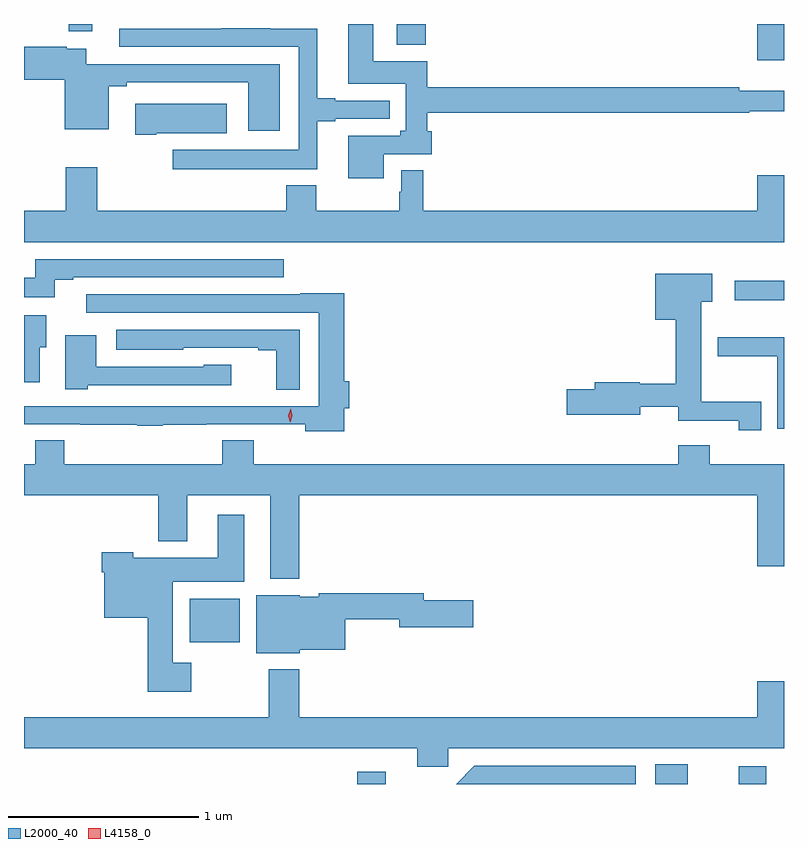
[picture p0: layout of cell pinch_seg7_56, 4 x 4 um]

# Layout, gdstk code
import gdstk
lib = gdstk.Library(unit=1e-6, precision=1e-09)
def R(c, l, rs):  # rectangles x0, y0, x1, y1
    for r in rs: c.add(gdstk.rectangle(r[:2], r[2:], *l))
def P(c, l, *ps):  # polygons
    for p in ps: c.add(gdstk.Polygon(p, *l))
L2000_40 = (2000, 40)
L4158_0 = (4158, 0)

pinch_seg7_56 = lib.new_cell('pinch_seg7_56')
R(pinch_seg7_56, L2000_40, [(894.171,1056.372,894.319,1056.436), (895.739,1056.372,895.909,1056.475), (896.177,1056.372,896.322,1056.466), (893.288,1057.118,893.551,1057.348), (896.157,1058.918,896.416,1059.022), (896.276,1060.182,896.416,1060.372), (894.377,1060.263,894.53,1060.372), (892.652,1060.335,892.774,1060.372)])
P(pinch_seg7_56, L2000_40, [(894.31,1059.687),(894.563,1059.687),(894.563,1059.807),(894.538,1059.807),(894.538,1059.904),(896.234,1059.904),(896.234,1059.912),(896.416,1059.912),(896.416,1060.021),(896.18,1060.021),(896.18,1060.04),(894.538,1060.04),(894.538,1060.177),(894.253,1060.177),(894.253,1060.372),(894.122,1060.372),(894.122,1060.058),(894.426,1060.058),(894.426,1059.811),(894.396,1059.811),(894.396,1059.783),(894.122,1059.783),(894.122,1059.56),(894.31,1059.56)],
  [(893.959,1059.861),(894.055,1059.861),(894.055,1059.873),(894.34,1059.873),(894.34,1059.969),(894.055,1059.969),(894.055,1059.982),(893.959,1059.982),(893.959,1060.347),(893.711,1060.347),(893.711,1060.349),(893.455,1060.349),(893.455,1060.347),(892.917,1060.347),(892.917,1060.251),(893.862,1060.251),(893.862,1059.709),(893.199,1059.709),(893.199,1059.608),(893.959,1059.608)],
  [(893.761,1060.161),(892.744,1060.161),(892.744,1060.243),(892.64,1060.243),(892.64,1060.251),(892.416,1060.251),(892.416,1060.079),(892.631,1060.079),(892.631,1059.818),(892.861,1059.818),(892.861,1060.045),(892.957,1060.045),(892.957,1060.065),(893.597,1060.065),(893.597,1059.81),(893.761,1059.81)],
  [(893.113,1059.797),(893.482,1059.797),(893.482,1059.952),(893.001,1059.952),(893.001,1059.79),(893.113,1059.79)],
  [(896.416,1059.577),(896.276,1059.577),(896.276,1059.388),(894.518,1059.388),(894.518,1059.602),(894.402,1059.602),(894.402,1059.489),(894.39,1059.489),(894.39,1059.388),(893.955,1059.388),(893.955,1059.523),(893.795,1059.523),(893.795,1059.388),(892.802,1059.388),(892.802,1059.619),(892.637,1059.619),(892.637,1059.388),(892.416,1059.388),(892.416,1059.224),(896.416,1059.224)],
  [(892.579,1059.027),(892.675,1059.027),(892.675,1059.039),(893.782,1059.039),(893.782,1059.135),(892.475,1059.135),(892.475,1059.037),(892.416,1059.037),(892.416,1058.933),(892.579,1058.933)],
  [(896.296,1058.385),(895.981,1058.385),(895.981,1058.909),(896.038,1058.909),(896.038,1059.058),(895.739,1059.058),(895.739,1058.816),(895.847,1058.816),(895.847,1058.479),(895.656,1058.479),(895.656,1058.486),(895.421,1058.486),(895.421,1058.45),(895.272,1058.45),(895.272,1058.315),(895.66,1058.315),(895.66,1058.358),(895.859,1058.358),(895.859,1058.285),(896.179,1058.285),(896.179,1058.235),(896.296,1058.235)],
  [(894.101,1058.35),(894.127,1058.35),(894.127,1058.492),(894.101,1058.492),(894.101,1058.954),(893.87,1058.954),(893.87,1058.949),(892.743,1058.949),(892.743,1058.853),(893.966,1058.853),(893.966,1058.361),(892.416,1058.361),(892.416,1058.265),(892.711,1058.265),(892.711,1058.264),(893.013,1058.264),(893.013,1058.258),(893.145,1058.258),(893.145,1058.264),(893.375,1058.264),(893.375,1058.265),(893.897,1058.265),(893.897,1058.228),(894.101,1058.228)],
  [(892.498,1058.672),(892.534,1058.672),(892.534,1058.839),(892.416,1058.839),(892.416,1058.487),(892.498,1058.487)],
  [(893.866,1058.763),(893.153,1058.763),(893.153,1058.764),(892.902,1058.764),(892.902,1058.657),(893.253,1058.657),(893.253,1058.667),(893.648,1058.667),(893.648,1058.655),(893.744,1058.655),(893.744,1058.446),(893.866,1058.446)],
  [(892.752,1058.472),(893.506,1058.472),(893.506,1058.578),(893.361,1058.578),(893.361,1058.568),(892.795,1058.568),(892.795,1058.734),(892.634,1058.734),(892.634,1058.45),(892.752,1058.45)],
  [(896.416,1058.723),(896.066,1058.723),(896.066,1058.623),(896.381,1058.623),(896.381,1058.243),(896.416,1058.243)],
  [(893.864,1057.892),(896.276,1057.892),(896.276,1057.518),(896.416,1057.518),(896.416,1058.056),(896.024,1058.056),(896.024,1058.155),(895.859,1058.155),(895.859,1058.056),(893.624,1058.056),(893.624,1058.18),(893.459,1058.18),(893.459,1058.056),(892.628,1058.056),(892.628,1058.18),(892.475,1058.18),(892.475,1058.056),(892.416,1058.056),(892.416,1057.892),(893.123,1057.892),(893.123,1057.649),(893.275,1057.649),(893.275,1057.892),(893.711,1057.892),(893.711,1057.451),(893.864,1057.451)],
  [(893.296,1057.009),(893.2,1057.009),(893.2,1057.436),(893.575,1057.436),(893.575,1057.789),(893.435,1057.789),(893.435,1057.564),(892.992,1057.564),(892.992,1057.591),(892.826,1057.591),(892.826,1057.487),(892.838,1057.487),(892.838,1057.247),(893.066,1057.247),(893.066,1056.857),(893.296,1056.857)],
  [(893.868,1057.079),(894.106,1057.079),(894.106,1057.24),(894.392,1057.24),(894.392,1057.198),(894.781,1057.198),(894.781,1057.34),(894.52,1057.34),(894.52,1057.376),(893.968,1057.376),(893.968,1057.357),(893.868,1057.357),(893.868,1057.366),(893.639,1057.366),(893.639,1057.061),(893.868,1057.061)],
  [(894.648,1056.56),(896.416,1056.56),(896.416,1056.913),(896.276,1056.913),(896.276,1056.724),(893.864,1056.724),(893.864,1056.976),(893.704,1056.976),(893.704,1056.724),(892.416,1056.724),(892.416,1056.56),(894.485,1056.56),(894.485,1056.462),(894.648,1056.462)],
  [(895.636,1056.468),(894.786,1056.468),(894.69,1056.372),(895.636,1056.372)])
P(pinch_seg7_56, L4158_0, [(893.817,1058.275),(893.817,1058.275),(893.808,1058.311),(893.82,1058.347),(893.82,1058.347),(893.82,1058.347),(893.828,1058.31),(893.817,1058.275)])

lib.write_gds('pinch_seg7_56.gds')
